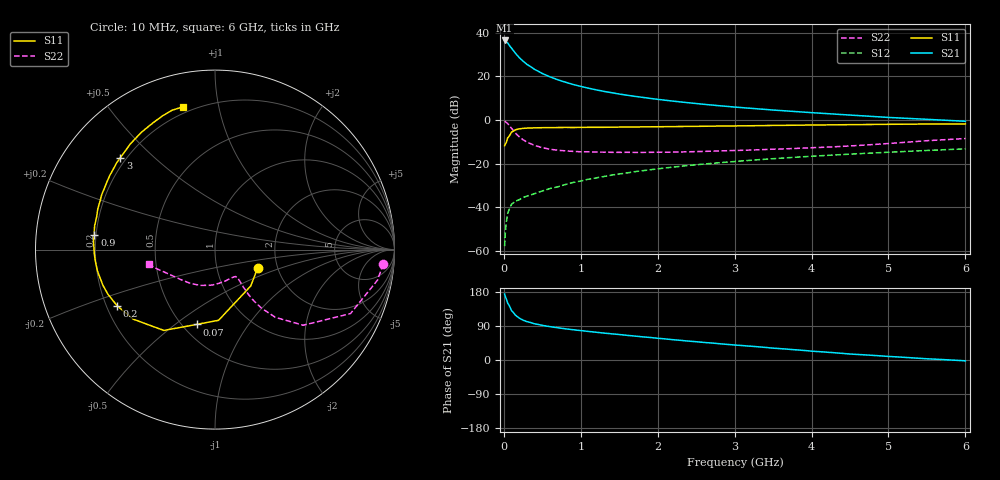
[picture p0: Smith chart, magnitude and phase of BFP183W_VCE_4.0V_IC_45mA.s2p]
! Infineon Technologies  Discrete & RF Semiconductors
! BFP183W
! VCE =  4.0 V,  IC =  45 mA
! Common Emitter S-Parameters:  Jan 2017
# GHz  S  MA  R  50
!  f  S11  S21  S12  S22
! GHz  MAG  ANG  MAG  ANG  MAG  ANG  MAG  ANG
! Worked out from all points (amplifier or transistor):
!   77 points, 10 MHz to 6 GHz, reference 50 ohm
!   highest |S21| = 36.5 dB at 10 MHz (marker M1)
!   |S21| within 3 dB of that: start of sweep to 87.64 MHz
!   unconditionally stable (mu >= 1): 632.5 MHz to 3.385 GHz
!   at 130 MHz: K = 0.40, MSG = 34.6 dB, |S12| = -37.7 dB
!   at 2.2 GHz: K = 1.07, MAG = 13.4 dB, |S12| = -21.5 dB
!   at 6 GHz: K = 0.86, MSG = 6.3 dB, |S12| = -13.2 dB
!   S11 on the Smith chart (normalised r, x): 10 MHz: 1.58, -0.34; 70 MHz: 0.59, -0.60; 200 MHz: 0.24, -0.25; 900 MHz: 0.19, +0.06; 3 GHz: 0.18, +0.39; 6 GHz: 0.17, +0.79
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0.01  0.2591 -22.8  66.48 174.1  0.0013 78.2  0.9403 -4.9
0.02  0.2841 -45.6  65.08 167.2  0.0028 83.8  0.9216 -10.6
0.05  0.3945 -87.1  58.07 150.3  0.0072 65.6  0.8347 -25.3
0.07  0.4289 -103.7  51.82 143.6  0.009 61.2  0.7532 -30.5
0.1  0.5329 -122.3  44.24 130.2  0.0118 57.1  0.6463 -40.7
0.12  0.553 -129.7  39.95 126.2  0.0126 54.2  0.5886 -43.3
0.15  0.5988 -139.7  33.98 118.4  0.0139 50.5  0.505 -48.3
0.2  0.6289 -150.2  27.01 110.6  0.015 49.9  0.4157 -51.6
0.25  0.6465 -157.5  22.3 105.1  0.0169 49.9  0.3548 -52.9
0.3  0.6556 -162.5  18.87 101.3  0.0182 50.8  0.3132 -53.3
0.4  0.6653 -169.5  14.46 95.5  0.0207 54.4  0.2622 -52.9
0.5  0.6699 -174.4  11.65 91.4  0.0239 57.6  0.2335 -52.1
0.7  0.6751 178.7  8.385 85.1  0.0297 62.3  0.204 -51.1
0.9  0.6764 173.2  6.533 79.9  0.0373 63.9  0.1922 -52.1
1.1  0.6838 168.7  5.372 75.4  0.0443 66.0  0.1873 -53.7
1.5  0.6911 160.9  3.949 67.2  0.0584 66.3  0.1826 -59.7
2.1  0.7065 149.9  2.848 55.6  0.0802 64.7  0.1843 -73.7
3  0.7351 135.9  1.986 39.5  0.1127 60.2  0.2015 -99.2
3.1  0.738 134.4  1.926 38.1  0.1163 59.6  0.2035 -102.0
4.1  0.7735 121.0  1.443 22.0  0.152 53.1  0.2364 -129.1
5.1  0.8026 110.5  1.127 8.3  0.1872 46.2  0.2996 -154.1
6  0.815 102.7  0.94 -2.2  0.2197 39.6  0.3787 -167.4
